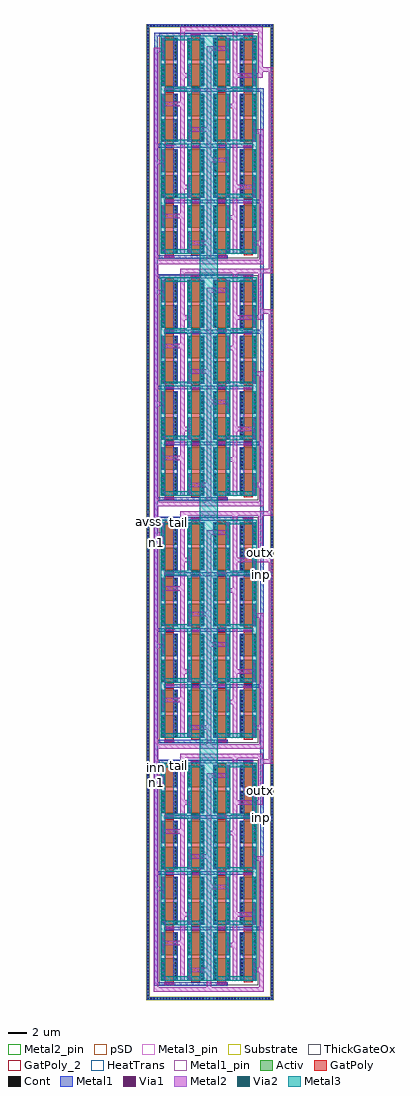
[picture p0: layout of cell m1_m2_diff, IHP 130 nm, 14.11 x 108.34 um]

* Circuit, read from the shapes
.subckt m1_m2_diff avss inn inp n1 outx tail
XM1 n2 inn tail avss sg13_hv_nmos w=2.5u l=1u
XM2 n2 inn outx avss sg13_hv_nmos w=2.5u l=1u
XM3 n3 inp tail avss sg13_hv_nmos w=2.5u l=1u
XM4 n3 inp n1 avss sg13_hv_nmos w=2.5u l=1u
XM5 n4 inn tail avss sg13_hv_nmos w=2.5u l=1u
XM6 n4 inn outx avss sg13_hv_nmos w=2.5u l=1u
XM7 n5 inp tail avss sg13_hv_nmos w=2.5u l=1u
XM8 n5 inp n1 avss sg13_hv_nmos w=2.5u l=1u
XM9 n6 inn tail avss sg13_hv_nmos w=2.5u l=1u
XM10 n6 inn outx avss sg13_hv_nmos w=2.5u l=1u
XM11 n7 inp tail avss sg13_hv_nmos w=2.5u l=1u
XM12 n7 inp n1 avss sg13_hv_nmos w=2.5u l=1u
XM13 n8 inn tail avss sg13_hv_nmos w=2.5u l=1u
XM14 n8 inn outx avss sg13_hv_nmos w=2.5u l=1u
XM15 n9 inp tail avss sg13_hv_nmos w=2.5u l=1u
XM16 n9 inp n1 avss sg13_hv_nmos w=2.5u l=1u
XM17 n10 inn tail avss sg13_hv_nmos w=2.5u l=1u
XM18 n10 inn outx avss sg13_hv_nmos w=2.5u l=1u
XM19 n11 inp tail avss sg13_hv_nmos w=2.5u l=1u
XM20 n11 inp n1 avss sg13_hv_nmos w=2.5u l=1u
XM21 n12 inn tail avss sg13_hv_nmos w=2.5u l=1u
XM22 n12 inn outx avss sg13_hv_nmos w=2.5u l=1u
XM23 n13 inp tail avss sg13_hv_nmos w=2.5u l=1u
XM24 n13 inp n1 avss sg13_hv_nmos w=2.5u l=1u
XM25 n14 inn tail avss sg13_hv_nmos w=2.5u l=1u
XM26 n14 inn outx avss sg13_hv_nmos w=2.5u l=1u
XM27 n15 inp tail avss sg13_hv_nmos w=2.5u l=1u
XM28 n15 inp n1 avss sg13_hv_nmos w=2.5u l=1u
XM29 n16 inn tail avss sg13_hv_nmos w=2.5u l=1u
XM30 n16 inn outx avss sg13_hv_nmos w=2.5u l=1u
XM31 n17 inp tail avss sg13_hv_nmos w=2.5u l=1u
XM32 n17 inp n1 avss sg13_hv_nmos w=2.5u l=1u
XM33 n18 inp n1 avss sg13_hv_nmos w=2.5u l=1u
XM34 n18 inp tail avss sg13_hv_nmos w=2.5u l=1u
XM35 n19 inn outx avss sg13_hv_nmos w=2.5u l=1u
XM36 n19 inn tail avss sg13_hv_nmos w=2.5u l=1u
XM37 n20 inp n1 avss sg13_hv_nmos w=2.5u l=1u
XM38 n20 inp tail avss sg13_hv_nmos w=2.5u l=1u
XM39 n21 inn outx avss sg13_hv_nmos w=2.5u l=1u
XM40 n21 inn tail avss sg13_hv_nmos w=2.5u l=1u
XM41 n22 inp n1 avss sg13_hv_nmos w=2.5u l=1u
XM42 n22 inp tail avss sg13_hv_nmos w=2.5u l=1u
XM43 n23 inn outx avss sg13_hv_nmos w=2.5u l=1u
XM44 n23 inn tail avss sg13_hv_nmos w=2.5u l=1u
XM45 n24 inp n1 avss sg13_hv_nmos w=2.5u l=1u
XM46 n24 inp tail avss sg13_hv_nmos w=2.5u l=1u
XM47 n25 inn outx avss sg13_hv_nmos w=2.5u l=1u
XM48 n25 inn tail avss sg13_hv_nmos w=2.5u l=1u
XM49 n26 inp n1 avss sg13_hv_nmos w=2.5u l=1u
XM50 n26 inp tail avss sg13_hv_nmos w=2.5u l=1u
XM51 n27 inn outx avss sg13_hv_nmos w=2.5u l=1u
XM52 n27 inn tail avss sg13_hv_nmos w=2.5u l=1u
XM53 n28 inp n1 avss sg13_hv_nmos w=2.5u l=1u
XM54 n28 inp tail avss sg13_hv_nmos w=2.5u l=1u
XM55 n29 inn outx avss sg13_hv_nmos w=2.5u l=1u
XM56 n29 inn tail avss sg13_hv_nmos w=2.5u l=1u
XM57 n30 inp n1 avss sg13_hv_nmos w=2.5u l=1u
XM58 n30 inp tail avss sg13_hv_nmos w=2.5u l=1u
XM59 n31 inn outx avss sg13_hv_nmos w=2.5u l=1u
XM60 n31 inn tail avss sg13_hv_nmos w=2.5u l=1u
XM61 n32 inp n1 avss sg13_hv_nmos w=2.5u l=1u
XM62 n32 inp tail avss sg13_hv_nmos w=2.5u l=1u
XM63 n33 inn outx avss sg13_hv_nmos w=2.5u l=1u
XM64 n33 inn tail avss sg13_hv_nmos w=2.5u l=1u
XM65 tail inn n34 avss sg13_hv_nmos w=2.5u l=1u
XM66 outx inn n34 avss sg13_hv_nmos w=2.5u l=1u
XM67 tail inp n35 avss sg13_hv_nmos w=2.5u l=1u
XM68 n1 inp n35 avss sg13_hv_nmos w=2.5u l=1u
XM69 tail inn n36 avss sg13_hv_nmos w=2.5u l=1u
XM70 outx inn n36 avss sg13_hv_nmos w=2.5u l=1u
XM71 tail inp n37 avss sg13_hv_nmos w=2.5u l=1u
XM72 n1 inp n37 avss sg13_hv_nmos w=2.5u l=1u
XM73 tail inn n38 avss sg13_hv_nmos w=2.5u l=1u
XM74 outx inn n38 avss sg13_hv_nmos w=2.5u l=1u
XM75 tail inp n39 avss sg13_hv_nmos w=2.5u l=1u
XM76 n1 inp n39 avss sg13_hv_nmos w=2.5u l=1u
XM77 tail inn n40 avss sg13_hv_nmos w=2.5u l=1u
XM78 outx inn n40 avss sg13_hv_nmos w=2.5u l=1u
XM79 tail inp n41 avss sg13_hv_nmos w=2.5u l=1u
XM80 n1 inp n41 avss sg13_hv_nmos w=2.5u l=1u
XM81 tail inn n42 avss sg13_hv_nmos w=2.5u l=1u
XM82 outx inn n42 avss sg13_hv_nmos w=2.5u l=1u
XM83 tail inp n43 avss sg13_hv_nmos w=2.5u l=1u
XM84 n1 inp n43 avss sg13_hv_nmos w=2.5u l=1u
XM85 tail inn n44 avss sg13_hv_nmos w=2.5u l=1u
XM86 outx inn n44 avss sg13_hv_nmos w=2.5u l=1u
XM87 tail inp n45 avss sg13_hv_nmos w=2.5u l=1u
XM88 n1 inp n45 avss sg13_hv_nmos w=2.5u l=1u
XM89 tail inn n46 avss sg13_hv_nmos w=2.5u l=1u
XM90 outx inn n46 avss sg13_hv_nmos w=2.5u l=1u
XM91 tail inp n47 avss sg13_hv_nmos w=2.5u l=1u
XM92 n1 inp n47 avss sg13_hv_nmos w=2.5u l=1u
XM93 tail inn n48 avss sg13_hv_nmos w=2.5u l=1u
XM94 outx inn n48 avss sg13_hv_nmos w=2.5u l=1u
XM95 tail inp n49 avss sg13_hv_nmos w=2.5u l=1u
XM96 n1 inp n49 avss sg13_hv_nmos w=2.5u l=1u
XM97 outx inn n50 avss sg13_hv_nmos w=2.5u l=1u
XM98 tail inn n50 avss sg13_hv_nmos w=2.5u l=1u
XM99 outx inn n51 avss sg13_hv_nmos w=2.5u l=1u
XM100 tail inn n51 avss sg13_hv_nmos w=2.5u l=1u
XM101 outx inn n52 avss sg13_hv_nmos w=2.5u l=1u
XM102 tail inn n52 avss sg13_hv_nmos w=2.5u l=1u
XM103 outx inn n53 avss sg13_hv_nmos w=2.5u l=1u
XM104 tail inn n53 avss sg13_hv_nmos w=2.5u l=1u
XM105 n1 inp n54 avss sg13_hv_nmos w=2.5u l=1u
XM106 tail inp n54 avss sg13_hv_nmos w=2.5u l=1u
XM107 outx inn n55 avss sg13_hv_nmos w=2.5u l=1u
XM108 tail inn n55 avss sg13_hv_nmos w=2.5u l=1u
XM109 n1 inp n56 avss sg13_hv_nmos w=2.5u l=1u
XM110 tail inp n56 avss sg13_hv_nmos w=2.5u l=1u
XM111 n1 inp n57 avss sg13_hv_nmos w=2.5u l=1u
XM112 tail inp n57 avss sg13_hv_nmos w=2.5u l=1u
XM113 outx inn n58 avss sg13_hv_nmos w=2.5u l=1u
XM114 tail inn n58 avss sg13_hv_nmos w=2.5u l=1u
XM115 n1 inp n59 avss sg13_hv_nmos w=2.5u l=1u
XM116 tail inp n59 avss sg13_hv_nmos w=2.5u l=1u
XM117 n1 inp n60 avss sg13_hv_nmos w=2.5u l=1u
XM118 tail inp n60 avss sg13_hv_nmos w=2.5u l=1u
XM119 outx inn n61 avss sg13_hv_nmos w=2.5u l=1u
XM120 tail inn n61 avss sg13_hv_nmos w=2.5u l=1u
XM121 n1 inp n62 avss sg13_hv_nmos w=2.5u l=1u
XM122 tail inp n62 avss sg13_hv_nmos w=2.5u l=1u
XM123 n1 inp n63 avss sg13_hv_nmos w=2.5u l=1u
XM124 tail inp n63 avss sg13_hv_nmos w=2.5u l=1u
XM125 outx inn n64 avss sg13_hv_nmos w=2.5u l=1u
XM126 tail inn n64 avss sg13_hv_nmos w=2.5u l=1u
XM127 n1 inp n65 avss sg13_hv_nmos w=2.5u l=1u
XM128 tail inp n65 avss sg13_hv_nmos w=2.5u l=1u
.ends

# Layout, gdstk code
from math import pi, radians
import gdstk
lib = gdstk.Library(unit=1e-6, precision=1e-09)
def R(c, l, rs):  # rectangles x0, y0, x1, y1
    for r in rs: c.add(gdstk.rectangle(r[:2], r[2:], *l))
def A(c, l, x, y, w, h, nx, ny, dx, dy):  # array of equal rectangles
    R(c, l, [(x+i*dx, y+j*dy, x+i*dx+w, y+j*dy+h) for i in range(nx) for j in range(ny)])
def P(c, l, *ps):  # polygons
    for p in ps: c.add(gdstk.Polygon(p, *l))
Activ = (1, 0)
GatPoly = (5, 0)
GatPoly_2 = (5, 2)
Cont = (6, 0)
Metal1 = (8, 0)
Metal1_pin = (8, 2)
Metal2 = (10, 0)
Metal2_pin = (10, 2)
pSD = (14, 0)
Via1 = (19, 0)
Via2 = (29, 0)
Metal3 = (30, 0)
Metal3_pin = (30, 2)
Substrate = (40, 0)
ThickGateOx = (44, 0)
HeatTrans = (51, 0)

guard_ring_1 = lib.new_cell('guard_ring$1')
R(guard_ring_1, Activ, [(-7.025,-53.84,-6.725,53.84), (6.725,-53.84,7.025,53.84), (-7.025,53.84,7.025,54.14)])
P(guard_ring_1, Activ, [(-7.025,-54.14),(-7.025,53.84),(-6.725,53.84),(-6.725,-53.84),(6.725,-53.84),(6.725,53.84),(-7.025,53.84),(-7.025,54.14),(7.025,54.14),(7.025,-54.14)])
A(guard_ring_1, Cont, -6.955, -54.07, 0.16, 0.16, 20, 2, 0.34, 107.98)
A(guard_ring_1, Cont, -0.005, -54.07, 0.16, 0.16, 21, 2, 0.34, 107.98)
A(guard_ring_1, Cont, -6.955, -53.73, 0.16, 0.16, 1, 158, 0, 0.34)
A(guard_ring_1, Cont, 6.795, -53.73, 0.16, 0.16, 1, 158, 0, 0.34)
A(guard_ring_1, Cont, -6.955, 0.19, 0.16, 0.16, 1, 158, 0, 0.34)
A(guard_ring_1, Cont, 6.795, 0.19, 0.16, 0.16, 1, 158, 0, 0.34)
R(guard_ring_1, Metal1, [(-7.025,-54.14,7.025,-53.84), (-7.025,-53.84,-6.725,53.84), (6.725,-53.84,7.025,53.84), (-7.025,53.84,7.025,54.14)])
R(guard_ring_1, pSD, [(-7.055,-53.81,-6.695,53.81), (6.695,-53.81,7.055,53.81), (-7.055,53.81,7.055,54.17)])
P(guard_ring_1, pSD, [(-7.055,-54.17),(-7.055,53.81),(-6.695,53.81),(-6.695,-53.81),(6.695,-53.81),(6.695,53.81),(-7.055,53.81),(-7.055,54.17),(7.055,54.17),(7.055,-54.17)])
R(guard_ring_1, Substrate, [(-7.055,-53.81,-6.695,53.81), (6.695,-53.81,7.055,53.81), (-7.055,53.81,7.055,54.17)])
P(guard_ring_1, Substrate, [(-7.055,-54.17),(-7.055,53.81),(-6.695,53.81),(-6.695,-53.81),(6.695,-53.81),(6.695,53.81),(-7.055,53.81),(-7.055,54.17),(7.055,54.17),(7.055,-54.17)])
guard_ring_1.add(gdstk.Label('sub!', (0,-53.99), layer=63, texttype=0))

nmoshv = lib.new_cell('nmosHV')
R(nmoshv, Activ, [(0,0,0.3,0.3), (0,0,1.68,2.5), (1.38,0,1.68,0.3)])
R(nmoshv, GatPoly, [(0.34,-0.18,1.34,2.68)])
R(nmoshv, GatPoly_2, [(0.34,-0.18,1.34,2.68)])
A(nmoshv, Cont, 0.07, 0.07, 0.16, 0.16, 1, 3, 0, 0.365)
A(nmoshv, Cont, 1.45, 0.07, 0.16, 0.16, 1, 3, 0, 0.365)
A(nmoshv, Cont, 0.07, 1.17, 0.16, 0.16, 1, 3, 0, 0.365)
A(nmoshv, Cont, 1.45, 1.17, 0.16, 0.16, 1, 3, 0, 0.365)
R(nmoshv, Cont, [(0.07,2.27,0.23,2.43), (1.45,2.27,1.61,2.43)])
R(nmoshv, Metal1, [(0.07,0,0.23,2.5), (1.45,0,1.61,2.5)])
R(nmoshv, Metal1_pin, [(0.07,0,0.23,2.5), (1.45,0,1.61,2.5)])
R(nmoshv, ThickGateOx, [(-0.27,-0.52,1.95,3.02)])
R(nmoshv, HeatTrans, [(0.34,-0.18,1.34,2.68)])
nmoshv.add(gdstk.Label('nmosHV', (0.84,1.25), layer=63, texttype=0))
nmoshv.add(gdstk.Label('nmosHV', (0.84,1.25), layer=51, texttype=0))

via_stack = lib.new_cell('via_stack')
R(via_stack, Metal1, [(-0.105,-1.17,0.105,1.17)])
R(via_stack, Metal2, [(-0.1,-1.17,0.1,1.17)])
A(via_stack, Via1, -0.095, -1.12, 0.19, 0.19, 1, 6, 0, 0.41)
A(via_stack, Via2, -0.095, -1.12, 0.19, 0.19, 1, 6, 0, 0.41)
R(via_stack, Metal3, [(-0.1,-1.17,0.1,1.17)])

via_stack_1 = lib.new_cell('via_stack$1')
R(via_stack_1, Metal1, [(-0.105,-1.17,0.105,1.17)])
R(via_stack_1, Metal2, [(-0.1,-1.17,0.1,1.17)])
A(via_stack_1, Via1, -0.095, -1.12, 0.19, 0.19, 1, 6, 0, 0.41)

via_stack_6 = lib.new_cell('via_stack$6')
R(via_stack_6, GatPoly, [(-0.49,-0.15,0.49,0.15)])
A(via_stack_6, Cont, -0.42, -0.08, 0.16, 0.16, 3, 1, 0.34, 0)
R(via_stack_6, Metal1, [(-0.555,-0.105,0.555,0.105)])
R(via_stack_6, Metal2, [(-0.555,-0.1,0.555,0.1)])
A(via_stack_6, Via1, -0.505, -0.095, 0.19, 0.19, 3, 1, 0.41, 0)

n1_2 = lib.new_cell('n1_2')
R(n1_2, GatPoly, [(0.34,5.54,0.35,5.84), (1.33,5.54,1.34,5.84)])
R(n1_2, GatPoly_2, [(0.73,2.615,0.86,2.745)])
R(n1_2, Metal1_pin, [(0.085,1.265,0.215,1.395), (0.085,4.05,0.215,4.18)])
n1_2.add(gdstk.FlexPath([(1.53,5.36),(1.53,0)], 0.5, ends="flush", simple_path=True, layer=8, datatype=0))  # Metal1
n1_2.add(gdstk.FlexPath([(0.15,2.86),(0.15,5.36)], 0.5, ends="flush", simple_path=True, layer=8, datatype=0))  # Metal1
n1_2.add(gdstk.FlexPath([(0.15,0),(0.15,2.5)], 0.5, ends="flush", simple_path=True, layer=8, datatype=0))  # Metal1
n1_2.add(gdstk.Reference(nmoshv, (0,2.86)))
n1_2.add(gdstk.Reference(nmoshv, (0,0)))
n1_2.add(gdstk.Reference(via_stack, (0.15,4.19)))
n1_2.add(gdstk.Reference(via_stack_1, (0.155,1.17)))
n1_2.add(gdstk.Reference(via_stack_6, (0.84,5.69), rotation=pi))
n1_2.add(gdstk.Label('D', (0.15,1.33), layer=8, texttype=25))
n1_2.add(gdstk.Label('S', (0.15,4.115), layer=8, texttype=25))
n1_2.add(gdstk.Label('G', (0.795,2.68), layer=5, texttype=1))

m1_m2_array = lib.new_cell('m1_m2_array')
R(m1_m2_array, Metal1, [(7.22,-0.54,7.405,-0.22), (0.02,17.98,0.285,18.38), (3.135,24.18,3.205,24.5)])
R(m1_m2_array, ThickGateOx, [(1.95,-0.52,2.65,24.48), (4.87,-0.52,5.555,24.48), (7.775,-0.52,8.485,24.48)])
m1_m2_array.add(gdstk.FlexPath([(0.285,18.27),(10.15,18.27)], 0.22, ends="flush", simple_path=True, layer=8, datatype=0))  # Metal1
m1_m2_array.add(gdstk.FlexPath([(10.15,18.09),(0.285,18.09)], 0.22, ends="flush", simple_path=True, layer=8, datatype=0))  # Metal1
m1_m2_array.add(gdstk.FlexPath([(0.285,12.07),(10.15,12.07)], 0.22, ends="flush", simple_path=True, layer=8, datatype=0))  # Metal1
m1_m2_array.add(gdstk.FlexPath([(10.15,11.89),(0.285,11.89)], 0.22, ends="flush", simple_path=True, layer=8, datatype=0))  # Metal1
m1_m2_array.add(gdstk.FlexPath([(0.285,5.87),(10.15,5.87)], 0.22, ends="flush", simple_path=True, layer=8, datatype=0))  # Metal1
m1_m2_array.add(gdstk.FlexPath([(10.15,5.69),(0.285,5.69)], 0.22, ends="flush", simple_path=True, layer=8, datatype=0))  # Metal1
m1_m2_array.add(gdstk.FlexPath([(0.29,-0.33),(7.22,-0.33)], 0.22, ends="flush", simple_path=True, layer=8, datatype=0))  # Metal1
m1_m2_array.add(gdstk.FlexPath([(7.22,-0.43),(0.29,-0.43)], 0.22, ends="flush", simple_path=True, layer=8, datatype=0))  # Metal1
m1_m2_array.add(gdstk.FlexPath([(10.15,24.29),(3.205,24.29)], 0.22, ends="flush", simple_path=True, layer=8, datatype=0))  # Metal1
m1_m2_array.add(gdstk.FlexPath([(3.205,24.39),(10.15,24.39)], 0.22, ends="flush", simple_path=True, layer=8, datatype=0))  # Metal1
m1_m2_array.add(gdstk.FlexPath([(7.405,-0.38),(0.29,-0.38)], 0.4, ends="flush", simple_path=True, layer=8, datatype=0))  # Metal1
m1_m2_array.add(gdstk.FlexPath([(7.405,-0.38),(11.085,-0.38),(11.085,24.34),(3.135,24.34)], 0.4, ends="flush", simple_path=True, layer=8, datatype=0))  # Metal1
m1_m2_array.add(gdstk.FlexPath([(0.285,11.98),(11.285,11.98)], 0.4, ends="flush", simple_path=True, layer=8, datatype=0))  # Metal1
m1_m2_array.add(gdstk.FlexPath([(0.02,18.18),(-0.71,18.18),(-0.71,5.78),(0.285,5.78)], 0.4, ends="flush", simple_path=True, layer=8, datatype=0))  # Metal1
m1_m2_array.add(gdstk.FlexPath([(2.3,23.96),(2.3,4.19),(0.26,4.19)], 0.5, ends="flush", simple_path=True, layer=10, datatype=0))  # Metal2
m1_m2_array.add(gdstk.FlexPath([(5.215,23.96),(5.215,1.17),(3.175,1.17)], 0.5, ends="flush", simple_path=True, layer=10, datatype=0))  # Metal2
m1_m2_array.add(gdstk.FlexPath([(8.13,23.96),(8.13,4.19),(7.25,4.19)], 0.5, ends="flush", simple_path=True, layer=10, datatype=0))  # Metal2
m1_m2_array.add(gdstk.FlexPath([(3.17,19.975),(2.05,19.975)], 0.5, ends="flush", simple_path=True, layer=10, datatype=0))  # Metal2
m1_m2_array.add(gdstk.FlexPath([(0.055,22.79),(-0.62,22.79)], 0.5, ends="flush", simple_path=True, layer=10, datatype=0))  # Metal2
m1_m2_array.add(gdstk.FlexPath([(-0.62,23.96),(-0.62,10.39),(0.255,10.39)], 0.5, ends="flush", simple_path=True, layer=10, datatype=0))  # Metal2
m1_m2_array.add(gdstk.FlexPath([(0.26,16.59),(2.3,16.59)], 0.5, ends="flush", simple_path=True, layer=10, datatype=0))  # Metal2
m1_m2_array.add(gdstk.FlexPath([(3.075,13.57),(5.215,13.57)], 0.5, ends="flush", simple_path=True, layer=10, datatype=0))  # Metal2
m1_m2_array.add(gdstk.FlexPath([(7.45,16.59),(8.13,16.59)], 0.5, ends="flush", simple_path=True, layer=10, datatype=0))  # Metal2
m1_m2_array.add(gdstk.FlexPath([(10.185,13.775),(11.085,13.775)], 0.5, ends="flush", simple_path=True, layer=10, datatype=0))  # Metal2
m1_m2_array.add(gdstk.FlexPath([(11.06,23.96),(11.06,1.375),(10.185,1.375)], 0.5, ends="flush", simple_path=True, layer=10, datatype=0))  # Metal2
m1_m2_array.add(gdstk.FlexPath([(3.17,7.575),(2.3,7.575)], 0.5, ends="flush", simple_path=True, layer=10, datatype=0))  # Metal2
m1_m2_array.add(gdstk.FlexPath([(7.445,10.185),(4.965,10.185)], 0.5, ends="flush", simple_path=True, layer=10, datatype=0))  # Metal2
m1_m2_array.add(gdstk.FlexPath([(7.45,22.79),(4.965,22.79)], 0.5, ends="flush", simple_path=True, layer=10, datatype=0))  # Metal2
m1_m2_array.add(gdstk.FlexPath([(10.38,19.77),(8.13,19.77)], 0.5, ends="flush", simple_path=True, layer=10, datatype=0))  # Metal2
m1_m2_array.add(gdstk.FlexPath([(10.38,7.37),(7.88,7.37)], 0.5, ends="flush", simple_path=True, layer=10, datatype=0))  # Metal2
m1_m2_array.add(gdstk.FlexPath([(-0.62,23.96),(-0.62,24.915),(11.06,24.915),(11.06,23.96)], 0.5, ends="flush", simple_path=True, layer=10, datatype=0))  # Metal2
m1_m2_array.add(gdstk.FlexPath([(5.215,23.96),(5.215,24.915)], 0.5, ends="flush", simple_path=True, layer=10, datatype=0))  # Metal2
m1_m2_array.add(gdstk.FlexPath([(8.13,4.19),(8.13,-0.975),(2.3,-0.975),(2.3,4.19)], 0.5, ends="flush", simple_path=True, layer=10, datatype=0))  # Metal2
m1_m2_array.add(gdstk.FlexPath([(0.06,4.19),(-0.535,4.19),(-0.535,-0.975),(2.3,-0.975)], 0.5, ends="flush", simple_path=True, layer=10, datatype=0))  # Metal2
m1_m2_array.add(gdstk.FlexPath([(3.18,13.57),(5.215,13.57)], 0.5, ends="flush", simple_path=True, layer=10, datatype=0))  # Metal2
m1_m2_array.add(gdstk.FlexPath([(0.055,16.59),(2.3,16.59)], 0.5, ends="flush", simple_path=True, layer=10, datatype=0))  # Metal2
m1_m2_array.add(gdstk.FlexPath([(0.15,23.21),(0.15,0)], 0.5, ends="flush", simple_path=True, layer=30, datatype=0))  # Metal3
m1_m2_array.add(gdstk.FlexPath([(3.07,0),(3.07,23.21)], 0.5, ends="flush", simple_path=True, layer=30, datatype=0))  # Metal3
m1_m2_array.add(gdstk.FlexPath([(7.365,23.21),(7.365,0)], 0.5, ends="flush", simple_path=True, layer=30, datatype=0))  # Metal3
m1_m2_array.add(gdstk.FlexPath([(10.54,5.66),(-0.1,5.66)], 0.5, ends="flush", simple_path=True, layer=30, datatype=0))  # Metal3
m1_m2_array.add(gdstk.FlexPath([(-0.1,11.595),(10.54,11.595)], 0.5, ends="flush", simple_path=True, layer=30, datatype=0))  # Metal3
m1_m2_array.add(gdstk.FlexPath([(10.54,17.555),(-0.1,17.555)], 0.5, ends="flush", simple_path=True, layer=30, datatype=0))  # Metal3
m1_m2_array.add(gdstk.FlexPath([(10.285,0),(10.285,23.21)], 0.5, ends="flush", simple_path=True, layer=30, datatype=0))  # Metal3
m1_m2_array.add(gdstk.FlexPath([(10.29,23.71),(10.29,23.71),(-0.1,23.71)], 0.5, ends="flush", simple_path=True, layer=30, datatype=0))  # Metal3
m1_m2_array.add(gdstk.FlexPath([(10.29,0),(10.29,0),(-0.1,0)], 0.5, ends="flush", simple_path=True, layer=30, datatype=0))  # Metal3
m1_m2_array.add(gdstk.FlexPath([(0.155,0),(0.155,23.96)], 0.5, ends="flush", simple_path=True, layer=30, datatype=0))  # Metal3
m1_m2_array.add(gdstk.FlexPath([(10.29,-0.25),(10.29,23.96)], 0.5, ends="flush", simple_path=True, layer=30, datatype=0))  # Metal3
m1_m2_array.add(gdstk.FlexPath([(3.07,0),(3.07,23.96)], 0.5, ends="flush", simple_path=True, layer=30, datatype=0))  # Metal3
m1_m2_array.add(gdstk.FlexPath([(7.365,0),(7.365,23.96)], 0.5, ends="flush", simple_path=True, layer=30, datatype=0))  # Metal3
m1_m2_array.add(gdstk.Reference(n1_2, (0.005,5.36), x_reflection=True))
m1_m2_array.add(gdstk.Reference(n1_2, (2.92,0)))
m1_m2_array.add(gdstk.Reference(n1_2, (10.435,0), rotation=pi, x_reflection=True))
m1_m2_array.add(gdstk.Reference(n1_2, (7.505,5.36), rotation=pi))
m1_m2_array.add(gdstk.Reference(n1_2, (0,11.56), x_reflection=True))
m1_m2_array.add(gdstk.Reference(n1_2, (0,23.96), x_reflection=True))
m1_m2_array.add(gdstk.Reference(n1_2, (2.92,18.6)))
m1_m2_array.add(gdstk.Reference(n1_2, (10.435,18.6), rotation=pi, x_reflection=True))
m1_m2_array.add(gdstk.Reference(n1_2, (7.505,23.96), rotation=pi))
m1_m2_array.add(gdstk.Reference(n1_2, (2.92,6.2)))
m1_m2_array.add(gdstk.Reference(n1_2, (10.435,6.2), rotation=pi, x_reflection=True))
m1_m2_array.add(gdstk.Reference(n1_2, (7.505,11.56), rotation=pi))
m1_m2_array.add(gdstk.Reference(n1_2, (7.505,17.76), rotation=pi))
m1_m2_array.add(gdstk.Reference(n1_2, (10.435,12.4), rotation=pi, x_reflection=True))
m1_m2_array.add(gdstk.Reference(n1_2, (2.92,12.4)))
m1_m2_array.add(gdstk.Reference(n1_2, (0,17.76), x_reflection=True))

m1_m2_diff = lib.new_cell('m1_m2_diff')
R(m1_m2_diff, Metal1_pin, [(0.62,-33.245,0.75,-33.115), (-11.09,-27.71,-10.96,-27.58), (-12.03,-27.145,-11.9,-27.015), (0.62,-6.295,0.75,-6.165), (-11.09,-1.03,-10.96,-0.9), (-12.01,-0.465,-11.88,-0.335)])
R(m1_m2_diff, Metal2_pin, [(0.48,-30.27,0.61,-30.14), (-11.135,-29.42,-11.005,-29.29), (0.48,-3.835,0.61,-3.705), (-11.135,-2.74,-11.005,-2.61)])
R(m1_m2_diff, Metal3_pin, [(-8.61,-27.485,-8.48,-27.355), (-8.61,-0.51,-8.48,-0.38)])
m1_m2_diff.add(gdstk.FlexPath([(-11.085,-27.835),(-11.085,-24.75)], 0.4, ends="flush", simple_path=True, layer=8, datatype=0))  # Metal1
m1_m2_diff.add(gdstk.FlexPath([(0.71,-33.31),(0.71,-18.025)], 0.4, ends="flush", simple_path=True, layer=8, datatype=0))  # Metal1
m1_m2_diff.add(gdstk.FlexPath([(0.71,-6.36),(0.71,8.925)], 0.4, ends="flush", simple_path=True, layer=8, datatype=0))  # Metal1
m1_m2_diff.add(gdstk.FlexPath([(-11.085,-1.155),(-11.085,1.93)], 0.4, ends="flush", simple_path=True, layer=8, datatype=0))  # Metal1
m1_m2_diff.add(gdstk.FlexPath([(-11.085,26.85),(-11.085,28.985)], 0.4, ends="flush", simple_path=True, layer=8, datatype=0))  # Metal1
m1_m2_diff.add(gdstk.FlexPath([(0.71,35.145),(0.71,20.69)], 0.4, ends="flush", simple_path=True, layer=8, datatype=0))  # Metal1
m1_m2_diff.add(gdstk.FlexPath([(-11.06,-29.36),(-11.06,-25.355)], 0.5, ends="flush", simple_path=True, layer=10, datatype=0))  # Metal2
m1_m2_diff.add(gdstk.FlexPath([(0.535,-27.01),(1.71,-27.01),(1.71,-4.63),(0.535,-4.63)], 0.5, ends="flush", simple_path=True, layer=10, datatype=0))  # Metal2
m1_m2_diff.add(gdstk.FlexPath([(0.535,0.535),(1.71,0.535),(1.71,22.915),(0.535,22.915)], 0.5, ends="flush", simple_path=True, layer=10, datatype=0))  # Metal2
m1_m2_diff.add(gdstk.FlexPath([(-11.06,-2.68),(-11.06,1.325)], 0.5, ends="flush", simple_path=True, layer=10, datatype=0))  # Metal2
m1_m2_diff.add(gdstk.FlexPath([(-11.06,25.095),(-11.06,28.41)], 0.5, ends="flush", simple_path=True, layer=10, datatype=0))  # Metal2
m1_m2_diff.add(gdstk.FlexPath([(0.535,27.445),(1.71,27.445),(1.71,49.825),(0.535,49.825)], 0.5, ends="flush", simple_path=True, layer=10, datatype=0))  # Metal2
m1_m2_diff.add(gdstk.FlexPath([(-5.215,-24.15),(-5.215,-27.39)], 0.5, ends="flush", simple_path=True, layer=30, datatype=0))  # Metal3
m1_m2_diff.add(gdstk.FlexPath([(-5.21,2.76),(-5.21,-0.44)], 0.5, ends="flush", simple_path=True, layer=30, datatype=0))  # Metal3
m1_m2_diff.add(gdstk.FlexPath([(-5.215,29.615),(-5.215,26.47)], 0.5, ends="flush", simple_path=True, layer=30, datatype=0))  # Metal3
m1_m2_diff.add(gdstk.FlexPath([(-5.21,53.575),(-5.21,-51.35)], 2, ends="flush", simple_path=True, layer=30, datatype=0))  # Metal3
m1_m2_diff.add(gdstk.Reference(guard_ring_1, (-5.08,0.685), rotation=pi))
m1_m2_diff.add(gdstk.Reference(m1_m2_array, (0,-27.39), rotation=pi))
m1_m2_diff.add(gdstk.Reference(m1_m2_array, (0,-0.44), rotation=pi))
m1_m2_diff.add(gdstk.Reference(m1_m2_array, (0,53.325), rotation=pi))
m1_m2_diff.add(gdstk.Reference(m1_m2_array, (0,26.47), rotation=pi))
m1_m2_diff.add(gdstk.Label('inp', (0.685,-33.18), layer=8, texttype=25))
m1_m2_diff.add(gdstk.Label('inn', (-11.025,-27.645), layer=8, texttype=25))
m1_m2_diff.add(gdstk.Label('inp', (0.685,-6.23), layer=8, texttype=25))
m1_m2_diff.add(gdstk.Label('avss', (-11.965,-27.08), layer=8, texttype=25))
m1_m2_diff.add(gdstk.Label('avss', (-11.945,-0.4), layer=8, texttype=25))
m1_m2_diff.add(gdstk.Label('inn', (-11.025,-0.965), layer=8, texttype=25))
m1_m2_diff.add(gdstk.Label('tail', (-8.545,-27.405), layer=30, texttype=25))
m1_m2_diff.add(gdstk.Label('tail', (-8.545,-0.445), layer=30, texttype=25))
m1_m2_diff.add(gdstk.Label('n1', (-11.07,-29.355), layer=10, texttype=25))
m1_m2_diff.add(gdstk.Label('outx', (0.545,-30.205), layer=10, texttype=25))
m1_m2_diff.add(gdstk.Label('outx', (0.545,-3.77), layer=10, texttype=25))
m1_m2_diff.add(gdstk.Label('n1', (-11.07,-2.675), layer=10, texttype=25))

lib.write_gds('m1_m2_diff.gds')
